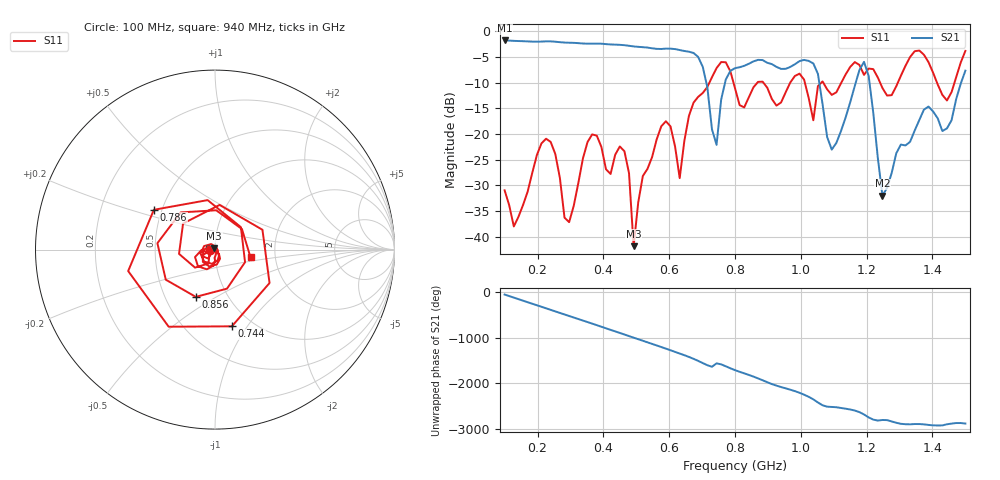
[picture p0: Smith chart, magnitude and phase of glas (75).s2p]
! NanoVNA-App
! Date: 2025-09-25 15:56:03
! Start: 100MHz Stop: 1,5GHz Points: 101
! S-Parameter data: F S11 S21 S12 S22
# Hz S RI R 50
!  Frequency  S11_Real  S11_Imag  S21_Real  S21_Imag  S12_Real  S12_Imag  S22_Real  S22_Imag
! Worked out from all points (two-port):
!   101 points, 100 MHz to 1.5 GHz, reference 50 ohm
!   highest |S21| = -1.80 dB at 100 MHz (marker M1); lowest = -32.0 dB at 1.248 GHz (marker M2)
!   |S21| within 3 dB of the highest: start of sweep to 684.3 MHz
!   lowest |S11| = -41.8 dB at 492 MHz (marker M3), VSWR 1.02, Z = 49.5 + j0.619 ohm
!   |S11| at or under -10 dB: start of sweep to 722.3 MHz; 795.3 MHz to 868.1 MHz (72.82 MHz wide, 8.75 % of centre); 886.2 MHz to 967.8 MHz (81.62 MHz wide, 8.81 % of centre) (the widest 3 of 7)
!   S12 and S22 are empty: the file has one direction only
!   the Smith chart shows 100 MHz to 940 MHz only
!   S11 on the Smith chart (normalised r, x): 100 MHz: 0.95, -0.01; 744 MHz: 0.81, -0.85; 786 MHz: 0.45, +0.24; 856 MHz: 0.71, -0.41; 940 MHz: 1.49, -0.13
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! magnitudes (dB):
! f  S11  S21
! 100 MHz  -31.0  -1.8
! 128 MHz  -38.0  -1.9
! 226 MHz  -20.9  -2.0
! 296 MHz  -37.2  -2.2
! 338 MHz  -24.7  -2.4
! 464 MHz  -23.4  -2.7
! 492 MHz  -41.8  -3.0
! 576 MHz  -18.5  -3.5
! 632 MHz  -28.6  -3.7
! 702 MHz  -12.0  -6.9
! 744 MHz  -7.2  -22.1
! 786 MHz  -7.8  -7.7
! 800 MHz  -11.1  -7.2
! 856 MHz  -10.9  -5.9
! 940 MHz  -13.9  -7.3
! 996 MHz  -8.3  -5.8
! 1.038 GHz  -17.3  -6.3
! 1.094 GHz  -12.4  -23.0
! 1.192 GHz  -8.5  -6.0
! 1.248 GHz  -11.1  -32.0
! 1.276 GHz  -12.4  -27.6
! 1.5 GHz  -3.8  -7.7
